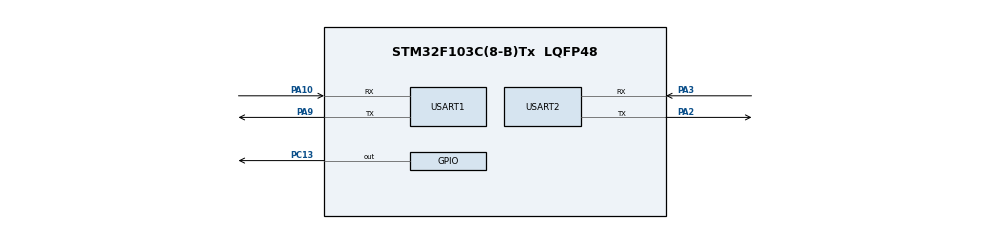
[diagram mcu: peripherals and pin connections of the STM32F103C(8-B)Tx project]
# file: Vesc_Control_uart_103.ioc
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Mcu.Family=STM32F1
Mcu.Name=STM32F103C(8-B)Tx
Mcu.Package=LQFP48
NVIC.PriorityGroup=NVIC_PRIORITYGROUP_4
NVIC.USART1_IRQn=true\:0\:0\:false\:false\:true\:true\:true
NVIC.USART2_IRQn=true\:0\:0\:false\:false\:true\:true\:true
PA10.Mode=Asynchronous
PA10.Signal=USART1_RX
PA13.Mode=Serial_Wire
PA13.Signal=SYS_JTMS-SWDIO
PA14.Mode=Serial_Wire
PA14.Signal=SYS_JTCK-SWCLK
PA2.Mode=Asynchronous
PA2.Signal=USART2_TX
PA3.Mode=Asynchronous
PA3.Signal=USART2_RX
PA9.Mode=Asynchronous
PA9.Signal=USART1_TX
PC13-TAMPER-RTC.GPIO_Speed=GPIO_SPEED_FREQ_HIGH
PC13-TAMPER-RTC.Signal=GPIO_Output
PD0-OSC_IN.Mode=HSE-External-Oscillator
PD0-OSC_IN.Signal=RCC_OSC_IN
PD1-OSC_OUT.Mode=HSE-External-Oscillator
PD1-OSC_OUT.Signal=RCC_OSC_OUT
ProjectManager.HeapSize=0x200
ProjectManager.StackSize=0x400
ProjectManager.TargetToolchain=MDK-ARM V5.27
RCC.APB1Freq_Value=8000000
RCC.APB2Freq_Value=8000000
USART1.VirtualMode=VM_ASYNC
USART2.VirtualMode=VM_ASYNC
VP_CRC_VS_CRC.Mode=CRC_Activate
board=custom

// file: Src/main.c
/* USER CODE BEGIN Header */
/**
  ******************************************************************************
  * @file           : main.c
  * @brief          : Main program body
  ******************************************************************************
  * @attention
  *
  * <h2><center>&copy; Copyright (c) 2020 STMicroelectronics.
  * All rights reserved.</center></h2>
  *
  * This software component is licensed by ST under BSD 3-Clause license,
  * the "License"; You may not use this file except in compliance with the
  * License. You may obtain a copy of the License at:
  *                        opensource.org/licenses/BSD-3-Clause
  *
  ******************************************************************************
  */
/* USER CODE END Header */

#include "main.h"
#include "crc.h"
#include "usart.h"
#include "gpio.h"

/* USER CODE BEGIN Includes */
#include "Crc_my.h"
#include "string.h"
#include "datatypes.h"
#include "buffer.h"

/* USER CODE END Includes */

void SystemClock_Config(void);

/* USER CODE BEGIN 0 */

extern uint8_t data_in;
 mess message;
 uint8_t dr_arr[2];
 uint8_t dr_dt[2];
 extern uint8_t uart2_in;
 extern uint8_t dt[1];
 uint8_t buffer[16];
/* USER CODE END 0 */

int main(void)
{

  /* MCU Configuration--------------------------------------------------------*/

  /* Reset of all peripherals, Initializes the Flash interface and the Systick. */
  HAL_Init();

  /* Configure the system clock */
  SystemClock_Config();

  /* Initialize all configured peripherals */
  MX_GPIO_Init();
  MX_USART1_UART_Init();
  MX_CRC_Init();
  MX_USART2_UART_Init();
  /* USER CODE BEGIN 2 */
	 __HAL_UART_ENABLE_IT(&huart1, UART_IT_RXNE);

	uint8_t lenght;
	  /* USER CODE END 2 */

  /* Infinite loop */
  /* USER CODE BEGIN WHILE */
  while (1)
  {
		if(data_in)
		{
			HAL_GPIO_WritePin(GPIOC, GPIO_PIN_13, GPIO_PIN_RESET);

			if(data_in)
			{
				data_in = 0;
				lenght = read_buf();

				HAL_UART_Transmit_IT(&huart2, buffer, lenght);
			HAL_UART_Transmit_IT(&huart1, buffer, lenght);
					HAL_GPIO_WritePin(GPIOC, GPIO_PIN_13, GPIO_PIN_SET);
			}
		}
	if(uart2_in)
	{
		uart2_in = 0;
		HAL_UART_Transmit_IT(&huart1, dt, 1);
	}
    /* USER CODE END WHILE */

  }
}

void SystemClock_Config(void)
{
  RCC_OscInitTypeDef RCC_OscInitStruct = {0};
  RCC_ClkInitTypeDef RCC_ClkInitStruct = {0};

  /** Initializes the CPU, AHB and APB busses clocks
  */
  RCC_OscInitStruct.OscillatorType = RCC_OSCILLATORTYPE_HSI;
  RCC_OscInitStruct.HSIState = RCC_HSI_ON;
  RCC_OscInitStruct.HSICalibrationValue = RCC_HSICALIBRATION_DEFAULT;
  RCC_OscInitStruct.PLL.PLLState = RCC_PLL_NONE;
  if (HAL_RCC_OscConfig(&RCC_OscInitStruct) != HAL_OK)
  {
    Error_Handler();
  }
  /** Initializes the CPU, AHB and APB busses clocks
  */
  RCC_ClkInitStruct.ClockType = RCC_CLOCKTYPE_HCLK|RCC_CLOCKTYPE_SYSCLK
                              |RCC_CLOCKTYPE_PCLK1|RCC_CLOCKTYPE_PCLK2;
  RCC_ClkInitStruct.SYSCLKSource = RCC_SYSCLKSOURCE_HSI;
  RCC_ClkInitStruct.AHBCLKDivider = RCC_SYSCLK_DIV1;
  RCC_ClkInitStruct.APB1CLKDivider = RCC_HCLK_DIV1;
  RCC_ClkInitStruct.APB2CLKDivider = RCC_HCLK_DIV1;

  if (HAL_RCC_ClockConfig(&RCC_ClkInitStruct, FLASH_LATENCY_0) != HAL_OK)
  {
    Error_Handler();
  }
}

void Error_Handler(void)
{
}

/************************ (C) COPYRIGHT STMicroelectronics *****END OF FILE****/
